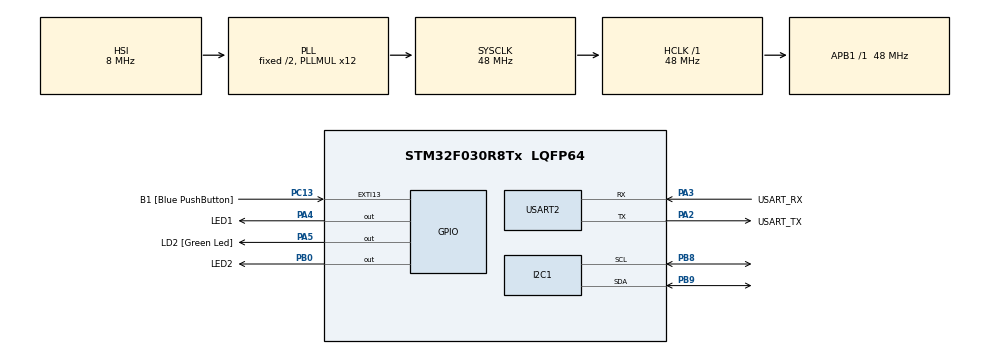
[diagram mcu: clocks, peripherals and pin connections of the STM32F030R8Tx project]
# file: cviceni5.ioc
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Dma.Request0=USART2_RX
Dma.USART2_RX.0.Direction=DMA_PERIPH_TO_MEMORY
Dma.USART2_RX.0.Instance=DMA1_Channel5
Dma.USART2_RX.0.MemDataAlignment=DMA_MDATAALIGN_BYTE
Dma.USART2_RX.0.MemInc=DMA_MINC_ENABLE
Dma.USART2_RX.0.Mode=DMA_CIRCULAR
Dma.USART2_RX.0.PeriphDataAlignment=DMA_PDATAALIGN_BYTE
Dma.USART2_RX.0.PeriphInc=DMA_PINC_DISABLE
Dma.USART2_RX.0.Priority=DMA_PRIORITY_LOW
Mcu.Family=STM32F0
Mcu.Name=STM32F030R8Tx
Mcu.Package=LQFP64
NVIC.DMA1_Channel4_5_IRQn=true\:0\:0\:false\:false\:true\:false\:true
PA13.GPIO_Label=TMS
PA13.Mode=Serial_Wire
PA13.Signal=SYS_SWDIO
PA14.GPIO_Label=TCK
PA14.Mode=Serial_Wire
PA14.Signal=SYS_SWCLK
PA2.GPIO_Label=USART_TX
PA2.GPIO_Mode=GPIO_MODE_AF_PP
PA2.GPIO_PuPd=GPIO_NOPULL
PA2.GPIO_Speed=GPIO_SPEED_FREQ_LOW
PA2.Mode=Asynchronous
PA2.Signal=USART2_TX
PA3.GPIO_Label=USART_RX
PA3.GPIO_Mode=GPIO_MODE_AF_PP
PA3.GPIO_PuPd=GPIO_NOPULL
PA3.GPIO_Speed=GPIO_SPEED_FREQ_LOW
PA3.Mode=Asynchronous
PA3.Signal=USART2_RX
PA4.GPIO_Label=LED1
PA4.Signal=GPIO_Output
PA5.GPIO_Label=LD2 [Green Led]
PA5.GPIO_Mode=GPIO_MODE_OUTPUT_PP
PA5.GPIO_PuPd=GPIO_NOPULL
PA5.GPIO_Speed=GPIO_SPEED_FREQ_LOW
PA5.Signal=GPIO_Output
PB0.GPIO_Label=LED2
PB0.Signal=GPIO_Output
PB8.Mode=I2C
PB8.Signal=I2C1_SCL
PB9.Mode=I2C
PB9.Signal=I2C1_SDA
PC13.GPIO_Label=B1 [Blue PushButton]
PC13.GPIO_ModeDefaultEXTI=GPIO_MODE_IT_FALLING
PC13.Signal=GPXTI13
PC14-OSC32_IN.Mode=LSE-External-Oscillator
PC14-OSC32_IN.Signal=RCC_OSC32_IN
PC15-OSC32_OUT.Mode=LSE-External-Oscillator
PC15-OSC32_OUT.Signal=RCC_OSC32_OUT
PF0-OSC_IN.Mode=HSE-External-Clock-Source
PF0-OSC_IN.Signal=RCC_OSC_IN
PF1-OSC_OUT.Signal=RCC_OSC_OUT
ProjectManager.HeapSize=0x200
ProjectManager.StackSize=0x400
ProjectManager.TargetToolchain=STM32CubeIDE
RCC.AHBFreq_Value=48000000
RCC.APB1Freq_Value=48000000
RCC.APB1TimFreq_Value=48000000
RCC.HCLKFreq_Value=48000000
RCC.PLLMUL=RCC_PLL_MUL12
RCC.SYSCLKFreq_VALUE=48000000
RCC.SYSCLKSource=RCC_SYSCLKSOURCE_PLLCLK
USART2.VirtualMode-Asynchronous=VM_ASYNC
board=NUCLEO-F030R8

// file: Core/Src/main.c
/* USER CODE BEGIN Header */
/**
 ******************************************************************************
 * @file           : main.c
 * @brief          : Main program body
 ******************************************************************************
 * @attention
 *
 * <h2><center>&copy; Copyright (c) 2021 STMicroelectronics.
 * All rights reserved.</center></h2>
 *
 * This software component is licensed by ST under BSD 3-Clause license,
 * the "License"; You may not use this file except in compliance with the
 * License. You may obtain a copy of the License at:
 *                        opensource.org/licenses/BSD-3-Clause
 *
 ******************************************************************************
 */
/* USER CODE END Header */
#include "main.h"

/* USER CODE BEGIN Includes */
#include <stdio.h> //aby fungoval vypis printf()

#include <string.h> //pro operace strtok a dalsi

#include <stdlib.h> //pro prevod retezcu vzniklych tokenizaci na cisla

/* USER CODE END Includes */

/* USER CODE BEGIN PD */

//Deklarace buffer a indexy cteni a zapisu
#define RX_BUFFER_LEN 64
static uint8_t uart_rx_buf[RX_BUFFER_LEN];
static volatile uint16_t uart_rx_read_ptr = 0;
//posouvani indexu cteni v bufferu dokun pointry cteni a zapisu nejsou stejne (zapis se posouva sam)
#define uart_rx_write_ptr (RX_BUFFER_LEN - hdma_usart2_rx.Instance->CNDTR)
/* USER CODE END PD */

/* USER CODE BEGIN PM */
#define CMD_BUFFER_LEN 256 //vhodna velikost bufferu pro textovy prikaz

#define EEPROM_ADDR 0xA0 //0b10100000 // adresa EEPROM neboli = 0xA0
//#define I2C_MEMADD_SIZE_16BIT 16 //16 bitove adresovani EEPROM
/* USER CODE END PM */

I2C_HandleTypeDef hi2c1;

UART_HandleTypeDef huart2;
DMA_HandleTypeDef hdma_usart2_rx;

void SystemClock_Config(void);
static void MX_GPIO_Init(void);
static void MX_DMA_Init(void);
static void MX_USART2_UART_Init(void);
static void MX_I2C1_Init(void);
/* USER CODE BEGIN PFP */
static void uart_byte_available(uint8_t c);
static void uart_process_command(char *cmd);
int _write(int file, char const *buf, int n);
/* USER CODE END PFP */

/* USER CODE BEGIN 0 */

//uklada tisknutelne znaky ASCII 32 az 126 do dalsiho bufferu, ktery obsahuje poskladany textovy prikaz
// az najde konec radku tak zavola obsluhu pro vyhodnoceni prikazu
static void uart_byte_available(uint8_t c) {
	static uint16_t cnt;
	static char data[CMD_BUFFER_LEN];
	if (cnt < CMD_BUFFER_LEN && c >= 32 && c <= 126)
		data[cnt++] = c;
	if ((c == '\n' || c == '\r') && cnt > 0) { //narazilo se na konec retezce
		data[cnt] = '\0'; //ukoncime nulou
		uart_process_command(data); //vypis celeho retezce
		cnt = 0;
	}
}

//vypis celeho retezce
static void uart_process_command(char *cmd) { //predani ukazatele
	printf("prijato: '%s'\n", cmd);

	char *token;

	uint8_t value;
	uint16_t addr;

	token = strtok(cmd, " ");
	if (strcasecmp(token, "HELLO") == 0) {
		printf("Komunikace OK\n");
	} else if (strcasecmp(token, "LED1") == 0) {
		token = strtok(NULL, " ");

		if (strcasecmp(token, "ON") == 0) {
			HAL_GPIO_WritePin(LED1_GPIO_Port, LED1_Pin, 1);
		}

		else if (strcasecmp(token, "OFF") == 0) { //kdyz se rovna tak compare je 0
			HAL_GPIO_WritePin(LED1_GPIO_Port, LED1_Pin, 0);
			printf("OK\n");
		}
	}

	else if (strcasecmp(token, "LED2") == 0) {
		token = strtok(NULL, " ");

		if (strcasecmp(token, "ON") == 0) {
			HAL_GPIO_WritePin(LED2_GPIO_Port, LED2_Pin, 1);
		}

		else if (strcasecmp(token, "OFF") == 0) { //kdyz se rovna tak compare je 0 // strcasecmp zanedbani velikosti znaku
			HAL_GPIO_WritePin(LED2_GPIO_Port, LED2_Pin, 0);
			printf("OK\n");
		}
	}

	else if (strcasecmp(token, "STATUS") == 0) {
		if (HAL_GPIO_ReadPin(LED1_GPIO_Port, LED1_Pin)) {
			printf("LED1 ON\n");
		} else {
			printf("LED1 OFF\n");
		}

		if (HAL_GPIO_ReadPin(LED2_GPIO_Port, LED2_Pin)) {
			printf("LED2 ON\n");
		} else {
			printf("LED2 OFF\n");
		}
	}
// EEPROM

	else if (strcasecmp(token, "READ") == 0) {
		token = strtok(NULL, " ");
		addr = atoi(token);
		HAL_I2C_Mem_Read(&hi2c1, EEPROM_ADDR, addr, I2C_MEMADD_SIZE_16BIT, &value, 1, 1000);
		printf("na drese %d je hodnota %d\n", addr, value);

	}

	else if (strcasecmp(token, "WRITE") == 0) {
		token = strtok(NULL, " ");
		addr = atoi(token);
		token = strtok(NULL, " ");
		value = atoi(token);

		HAL_I2C_Mem_Write(&hi2c1, EEPROM_ADDR, addr, I2C_MEMADD_SIZE_16BIT, &value, 1, 1000);
		/* Check if the EEPROM is ready for a new operation */
		while (HAL_I2C_IsDeviceReady(&hi2c1, EEPROM_ADDR, 300, 1000) == HAL_TIMEOUT) {}
		printf("zapsano %d (%x) na adresu %d\n",value,value,addr);
		}

	else if (strcasecmp(token, "DUMP") == 0) {
		uint8_t dump_vect[16]; //vektor pro vypis pameti
		HAL_I2C_Mem_Read(&hi2c1, EEPROM_ADDR, 0x0000, I2C_MEMADD_SIZE_16BIT, dump_vect, 16, 1000); //pocatecni adresa je 0, dump_vect je uz pointr - nepise se *
		for ( uint8_t i = 0;  i < 16; i++) { //prochazeni vsech prvku

			printf("%02x ",dump_vect[i] ); //02 je po kolika clenech oddelovat a x ze je to hex cislo
			if (i == 7) {
				putchar('\n'); //novy radek po 8 bytech
			}

		}
		putchar('\n');
	}

}
//else if (strcasecmp...

// HAL_GPIO_WritePin(LED1_GPIO_Port, LED1_Pin, 0);

//funkce je definovana jako weak - tim se prepsala
int _write(int file, char const *buf, int n) {
	/* stdout redirection to UART2 */
	HAL_UART_Transmit(&huart2, (uint8_t*) (buf), n, HAL_MAX_DELAY);
	return n;
}
/* USER CODE END 0 */

int main(void) {

	/* MCU Configuration--------------------------------------------------------*/

	/* Reset of all peripherals, Initializes the Flash interface and the Systick. */
	HAL_Init();

	/* Configure the system clock */
	SystemClock_Config();

	/* Initialize all configured peripherals */
	MX_GPIO_Init();
	MX_DMA_Init();
	MX_USART2_UART_Init();
	MX_I2C1_Init();
	/* USER CODE BEGIN 2 */
	HAL_UART_Receive_DMA(&huart2, uart_rx_buf, RX_BUFFER_LEN); //aktivace DMA cteni z UARTu
	//printf("prijato: '%s'\n", "text");

	/* USER CODE END 2 */

	/* Infinite loop */
	/* USER CODE BEGIN WHILE */
	while (1) {
		//uint8_t c;
		//HAL_UART_Receive(&huart2, &c, 1, HAL_MAX_DELAY); //klasicke polling - ceka se na jeden byte (znak) na 1 neznamenkovou promenou
		//HAL_UART_Transmit(&huart2, &c, 1, HAL_MAX_DELAY);

		//zpracovani jednotlivych bajtu z bufferu - kdyz dojde k zablokovani (po urcitou dobu ISR)
		// -> data se nahromadi v bufferu a zpracuji se jakmile je k dispozici procesorovy cas
		while (uart_rx_read_ptr != uart_rx_write_ptr) { //dokkud se cteci a zapisovaci pointr nerovna
			uint8_t b = uart_rx_buf[uart_rx_read_ptr];
			if (++uart_rx_read_ptr >= RX_BUFFER_LEN)
				uart_rx_read_ptr = 0; // increase read pointer
			uart_byte_available(b); // process every received byte with the RX state machine
		}

		////////////////////////
		// "set\0    led\0  on //postupne likviduje retezec a vraci jeho casti

		////////////////////////
		/* USER CODE END WHILE */

	}
}

void SystemClock_Config(void) {
	RCC_OscInitTypeDef RCC_OscInitStruct = { 0 };
	RCC_ClkInitTypeDef RCC_ClkInitStruct = { 0 };
	RCC_PeriphCLKInitTypeDef PeriphClkInit = { 0 };

	/** Initializes the RCC Oscillators according to the specified parameters
	 * in the RCC_OscInitTypeDef structure.
	 */
	RCC_OscInitStruct.OscillatorType = RCC_OSCILLATORTYPE_HSI;
	RCC_OscInitStruct.HSIState = RCC_HSI_ON;
	RCC_OscInitStruct.HSICalibrationValue = RCC_HSICALIBRATION_DEFAULT;
	RCC_OscInitStruct.PLL.PLLState = RCC_PLL_ON;
	RCC_OscInitStruct.PLL.PLLSource = RCC_PLLSOURCE_HSI;
	RCC_OscInitStruct.PLL.PLLMUL = RCC_PLL_MUL12;
	RCC_OscInitStruct.PLL.PREDIV = RCC_PREDIV_DIV1;
	if (HAL_RCC_OscConfig(&RCC_OscInitStruct) != HAL_OK) {
		Error_Handler();
	}
	/** Initializes the CPU, AHB and APB buses clocks
	 */
	RCC_ClkInitStruct.ClockType = RCC_CLOCKTYPE_HCLK | RCC_CLOCKTYPE_SYSCLK
			| RCC_CLOCKTYPE_PCLK1;
	RCC_ClkInitStruct.SYSCLKSource = RCC_SYSCLKSOURCE_PLLCLK;
	RCC_ClkInitStruct.AHBCLKDivider = RCC_SYSCLK_DIV1;
	RCC_ClkInitStruct.APB1CLKDivider = RCC_HCLK_DIV1;

	if (HAL_RCC_ClockConfig(&RCC_ClkInitStruct, FLASH_LATENCY_1) != HAL_OK) {
		Error_Handler();
	}
	PeriphClkInit.PeriphClockSelection = RCC_PERIPHCLK_I2C1;
	PeriphClkInit.I2c1ClockSelection = RCC_I2C1CLKSOURCE_HSI;
	if (HAL_RCCEx_PeriphCLKConfig(&PeriphClkInit) != HAL_OK) {
		Error_Handler();
	}
}

static void MX_I2C1_Init(void) {

	hi2c1.Instance = I2C1;
	hi2c1.Init.Timing = 0x2000090E;
	hi2c1.Init.OwnAddress1 = 0;
	hi2c1.Init.AddressingMode = I2C_ADDRESSINGMODE_7BIT;
	hi2c1.Init.DualAddressMode = I2C_DUALADDRESS_DISABLE;
	hi2c1.Init.OwnAddress2 = 0;
	hi2c1.Init.OwnAddress2Masks = I2C_OA2_NOMASK;
	hi2c1.Init.GeneralCallMode = I2C_GENERALCALL_DISABLE;
	hi2c1.Init.NoStretchMode = I2C_NOSTRETCH_DISABLE;
	if (HAL_I2C_Init(&hi2c1) != HAL_OK) {
		Error_Handler();
	}
	/** Configure Analogue filter
	 */
	if (HAL_I2CEx_ConfigAnalogFilter(&hi2c1, I2C_ANALOGFILTER_ENABLE)
			!= HAL_OK) {
		Error_Handler();
	}
	/** Configure Digital filter
	 */
	if (HAL_I2CEx_ConfigDigitalFilter(&hi2c1, 0) != HAL_OK) {
		Error_Handler();
	}

}

static void MX_USART2_UART_Init(void) {

	huart2.Instance = USART2;
	huart2.Init.BaudRate = 38400;
	huart2.Init.WordLength = UART_WORDLENGTH_8B;
	huart2.Init.StopBits = UART_STOPBITS_1;
	huart2.Init.Parity = UART_PARITY_NONE;
	huart2.Init.Mode = UART_MODE_TX_RX;
	huart2.Init.HwFlowCtl = UART_HWCONTROL_NONE;
	huart2.Init.OverSampling = UART_OVERSAMPLING_16;
	huart2.Init.OneBitSampling = UART_ONE_BIT_SAMPLE_DISABLE;
	huart2.AdvancedInit.AdvFeatureInit = UART_ADVFEATURE_NO_INIT;
	if (HAL_UART_Init(&huart2) != HAL_OK) {
		Error_Handler();
	}

}

static void MX_DMA_Init(void) {

	/* DMA controller clock enable */
	__HAL_RCC_DMA1_CLK_ENABLE();

	/* DMA interrupt init */
	/* DMA1_Channel4_5_IRQn interrupt configuration */
	HAL_NVIC_SetPriority(DMA1_Channel4_5_IRQn, 0, 0);
	HAL_NVIC_EnableIRQ(DMA1_Channel4_5_IRQn);

}

static void MX_GPIO_Init(void) {
	GPIO_InitTypeDef GPIO_InitStruct = { 0 };

	/* GPIO Ports Clock Enable */
	__HAL_RCC_GPIOC_CLK_ENABLE();
	__HAL_RCC_GPIOF_CLK_ENABLE();
	__HAL_RCC_GPIOA_CLK_ENABLE();
	__HAL_RCC_GPIOB_CLK_ENABLE();

	/*Configure GPIO pin Output Level */
	HAL_GPIO_WritePin(GPIOA, LED1_Pin | LD2_Pin, GPIO_PIN_RESET);

	/*Configure GPIO pin Output Level */
	HAL_GPIO_WritePin(LED2_GPIO_Port, LED2_Pin, GPIO_PIN_RESET);

	/*Configure GPIO pin : B1_Pin */
	GPIO_InitStruct.Pin = B1_Pin;
	GPIO_InitStruct.Mode = GPIO_MODE_IT_FALLING;
	GPIO_InitStruct.Pull = GPIO_NOPULL;
	HAL_GPIO_Init(B1_GPIO_Port, &GPIO_InitStruct);

	/*Configure GPIO pins : LED1_Pin LD2_Pin */
	GPIO_InitStruct.Pin = LED1_Pin | LD2_Pin;
	GPIO_InitStruct.Mode = GPIO_MODE_OUTPUT_PP;
	GPIO_InitStruct.Pull = GPIO_NOPULL;
	GPIO_InitStruct.Speed = GPIO_SPEED_FREQ_LOW;
	HAL_GPIO_Init(GPIOA, &GPIO_InitStruct);

	/*Configure GPIO pin : LED2_Pin */
	GPIO_InitStruct.Pin = LED2_Pin;
	GPIO_InitStruct.Mode = GPIO_MODE_OUTPUT_PP;
	GPIO_InitStruct.Pull = GPIO_NOPULL;
	GPIO_InitStruct.Speed = GPIO_SPEED_FREQ_LOW;
	HAL_GPIO_Init(LED2_GPIO_Port, &GPIO_InitStruct);

}

void Error_Handler(void) {
	__disable_irq();
	while (1) {
	}
}

/************************ (C) COPYRIGHT STMicroelectronics *****END OF FILE****/
